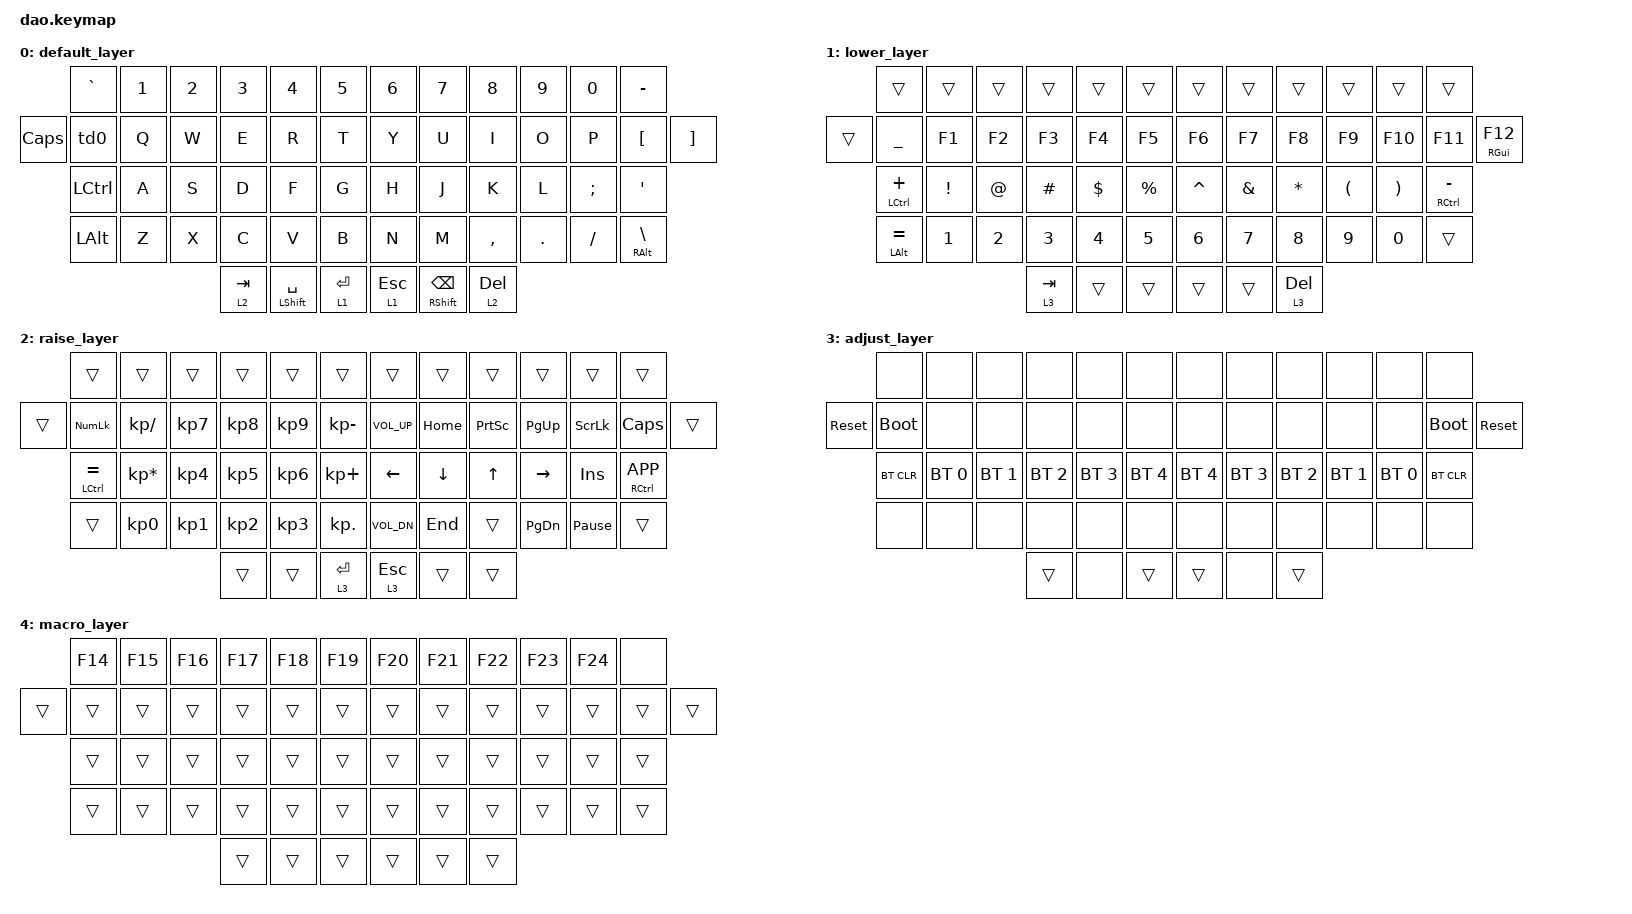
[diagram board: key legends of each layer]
/*
 * Copyright (c) 2021 Rafael Yumagulov
 *
 * SPDX-License-Identifier: MIT
 */

#include <behaviors.dtsi>
#include <dt-bindings/zmk/bt.h>
#include <dt-bindings/zmk/keys.h>

#define DEF 0
#define LWR 1
#define RSE 2
#define ADJ 3

&lt {
    quick_tap_ms = <200>;
};

&mt {
    quick_tap_ms = <200>;
};

/ {
    combos {
        compatible = "zmk,combos";
    };

    behaviors {
        td0: tap_dance_0 {
            compatible = "zmk,behavior-tap-dance";
            label = "TAP_DANCE_0";
            #binding-cells = <0>;
            tapping-term-ms = <200>;
            bindings = <&kp LWIN>, <&sl 4>;
        };
    };

    keymap {
        compatible = "zmk,keymap";

        default_layer {
            // -----------------------------------------------------------------------------------------
            // |  GUI |   ~  |  Q  |  W  |  E  |  R  |  T  |   |  Y  |  U   |  I  |  O  |  P  |  [   | GUI/] |
            //        | CTRL |  A  |  S  |  D  |  F  |  G  |   |  H  |  J   |  K  |  L  |  ;  |CTRL/'|
            //        | LALT |  Z  |  X  |  C  |  V  |  B  |   |  N  |  M   |  ,  |  .  |  /  | RALT |
            //                           | RSE | SPC | LWR |   | LWR | BKSP | RSE |

            bindings = <
             &kp GRAVE   &kp N1  &kp N2     &kp N3           &kp N4     &kp N5       &kp N6          &kp N7     &kp N8   &kp N9    &kp N0       &kp MINUS
&kp CAPSLOCK &td0        &kp Q   &kp W      &kp E            &kp R      &kp T        &kp Y           &kp U      &kp I    &kp O     &kp P        &kp LBKT  &kp RIGHT_BRACKET
             &kp LCTRL   &kp A   &kp S      &kp D            &kp F      &kp G        &kp H           &kp J      &kp K    &kp L  &kp SEMI  &kp APOSTROPHE
             &kp LALT    &kp Z   &kp X      &kp C            &kp V      &kp B        &kp N           &kp M  &kp COMMA  &kp DOT  &kp FSLH   &mt RALT BSLH
                                        &lt 2 TAB  &mt LSHFT SPACE  &lt 1 RET    &lt 1 ESC  &mt RSHFT BSPC  &lt 2 DEL
            >;
        };

        lower_layer {
            // -----------------------------------------------------------------------------------------
            // |     |  _  |  F1 |  F2 |  F3 |  F4 |  F5 |   |  F6 |  F7 |  F8 |  F9 | F10 | F11 | F12 |
            //       |  +  |  !  |  @  |  #  |  $  |  %  |   |  ^  |  &  |  *  |  (  |  )  |  -  |
            //       |  =  |  1  |  2  |  3  |  4  |  5  |   |  6  |  7  |  8  |  9  |  0  |     |
            //                    | GUI |     | SPC |   | ENT |     | ALT |

            bindings = <
                &trans    &trans  &trans     &trans    &trans     &trans       &trans    &trans     &trans    &trans    &trans           &trans
&trans       &kp UNDER    &kp F1  &kp F2     &kp F3    &kp F4     &kp F5       &kp F6    &kp F7     &kp F8    &kp F9   &kp F10          &kp F11  &mt RGUI F12
        &mt LCTRL PLUS  &kp EXCL  &kp AT   &kp HASH  &kp DLLR  &kp PRCNT    &kp CARET  &kp AMPS   &kp STAR  &kp LPAR  &kp RPAR  &mt RCTRL MINUS
        &mt LALT EQUAL    &kp N1  &kp N2     &kp N3    &kp N4     &kp N5       &kp N6    &kp N7     &kp N8    &kp N9    &kp N0           &trans
                                          &lt 3 TAB    &trans     &trans       &trans    &trans  &lt 3 DEL
            >;
        };

        raise_layer {
            // -----------------------------------------------------------------------------------------
            // |     | NMLK |  /  |  7  |  8  |  9  |  -  |   | VOLU| HOME| PRSC| PGUP| SCLK| CLCK|     |
            //       | CTRL |  *  |  4  |  5  |  6  |  +  |   | MUT | LEFT|  UP | RGHT| INS | APP |
            //       |      |  0  |  1  |  2  |  3  |  .  |   | VOLD| END | DOWN| PGDN| PAUS|     |
            //                          |     |     | ADJ |   | ADJ |     |     |

            bindings = <
                 &trans           &trans     &trans     &trans     &trans        &trans            &trans          &trans     &trans     &trans           &trans           &trans
&trans       &kp KP_NUM     &kp KP_SLASH  &kp KP_N7  &kp KP_N8  &kp KP_N9  &kp KP_MINUS      &kp C_VOL_UP        &kp HOME  &kp PSCRN  &kp PG_UP         &kp SLCK         &kp CAPS  &trans
        &mt LCTRL EQUAL  &kp KP_MULTIPLY  &kp KP_N4  &kp KP_N5  &kp KP_N6   &kp KP_PLUS    &kp LEFT_ARROW  &kp DOWN_ARROW     &kp UP  &kp RIGHT          &kp INS  &mt RCTRL K_APP
                 &trans        &kp KP_N0  &kp KP_N1  &kp KP_N2  &kp KP_N3    &kp KP_DOT      &kp C_VOL_DN         &kp END     &trans  &kp PG_DN  &kp PAUSE_BREAK           &trans
                                                        &trans     &trans     &lt 3 RET         &lt 3 ESC          &trans     &trans
            >;
        };

        adjust_layer {
            // -----------------------------------------------------------------------------------------
            // | RST | BLDR |     |     |     |     |     |   |     |     |     |     |     | BLDR | RST |
            //       | BTCLR| BT0 | BT1 | BT2 | BT3 | BT4 |   | BT4 | BT3 | BT2 | BT1 | BT0 | BTCLR|
            //       |      |     |     |     |     |     |   |     |     |     |     |     |      |
            //                          |     |     |     |   |     |     |     |

            bindings = <
                  &none         &none         &none         &none         &none         &none           &none         &none         &none         &none         &none        &none
&sys_reset  &bootloader         &none         &none         &none         &none         &none           &none         &none         &none         &none         &none  &bootloader  &sys_reset
             &bt BT_CLR  &bt BT_SEL 0  &bt BT_SEL 1  &bt BT_SEL 2  &bt BT_SEL 3  &bt BT_SEL 4    &bt BT_SEL 4  &bt BT_SEL 3  &bt BT_SEL 2  &bt BT_SEL 1  &bt BT_SEL 0   &bt BT_CLR
                  &none         &none         &none         &none         &none         &none           &none         &none         &none         &none         &none        &none
                                                           &trans         &none        &trans          &trans         &none        &trans
            >;
        };

        macro_layer {
            bindings = <
        &kp F14  &kp F15  &kp F16  &kp F17  &kp F18  &kp F19   &kp F20 &kp F21 &kp F22 &kp F23 &kp F24  &none
&trans  &trans   &trans   &trans   &trans   &trans   &trans    &trans  &trans  &trans  &trans  &trans  &trans  &trans
        &trans   &trans   &trans   &trans   &trans   &trans    &trans  &trans  &trans  &trans  &trans  &trans
        &trans   &trans   &trans   &trans   &trans   &trans    &trans  &trans  &trans  &trans  &trans  &trans
                                   &trans   &trans   &trans    &trans  &trans  &trans
            >;
        };
    };
};
